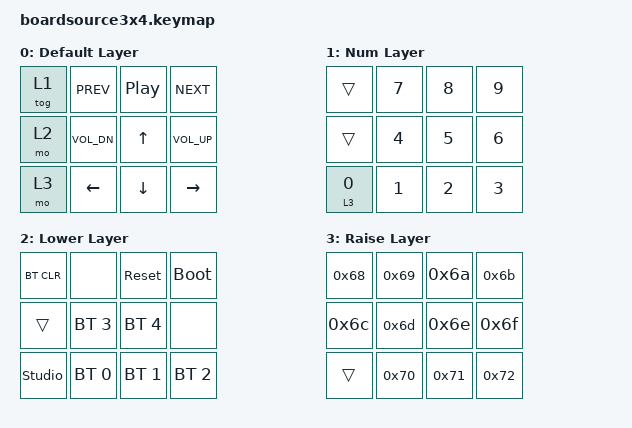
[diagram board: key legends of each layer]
/*
 * Copyright (c) 2025 The ZMK Contributors
 *
 * SPDX-License-Identifier: MIT
 */

#include <behaviors.dtsi>
#include <dt-bindings/zmk/keys.h>
#include <dt-bindings/zmk/bt.h>

/ {
    keymap {
        compatible = "zmk,keymap";

        default_layer {
            display-name = "Default Layer";

            bindings = <&tog 1 &kp C_PREV &kp C_PP &kp C_NEXT
                        &mo 2 &kp C_VOL_DN &kp UP &kp C_VOL_UP
                        &mo 3 &kp LEFT &kp DOWN &kp RIGHT>;
        };

        num_layer {
            display-name = "Num Layer";
            bindings = <&trans &kp N7 &kp N8 &kp N9
                        &trans &kp N4 &kp N5 &kp N6
                        &lt 3 N0 &kp N1 &kp N2 &kp N3>;
        };

        lower_layer {
            display-name = "Lower Layer";
            bindings = <&bt BT_CLR &none &sys_reset &bootloader
                        &trans &bt BT_SEL 3 &bt BT_SEL 4 &none
                        &studio_unlock &bt BT_SEL 0 &bt BT_SEL 1 &bt BT_SEL 2>;
        };

        raise_layer {
            display-name = "Raise Layer";
            bindings = <&kp 0x68 &kp 0x69 &kp 0x6a &kp 0x6b
                        &kp 0x6c &kp 0x6d &kp 0x6e &kp 0x6f
                        &trans &kp 0x70 &kp 0x71 &kp 0x72>;
        };
    };
};
